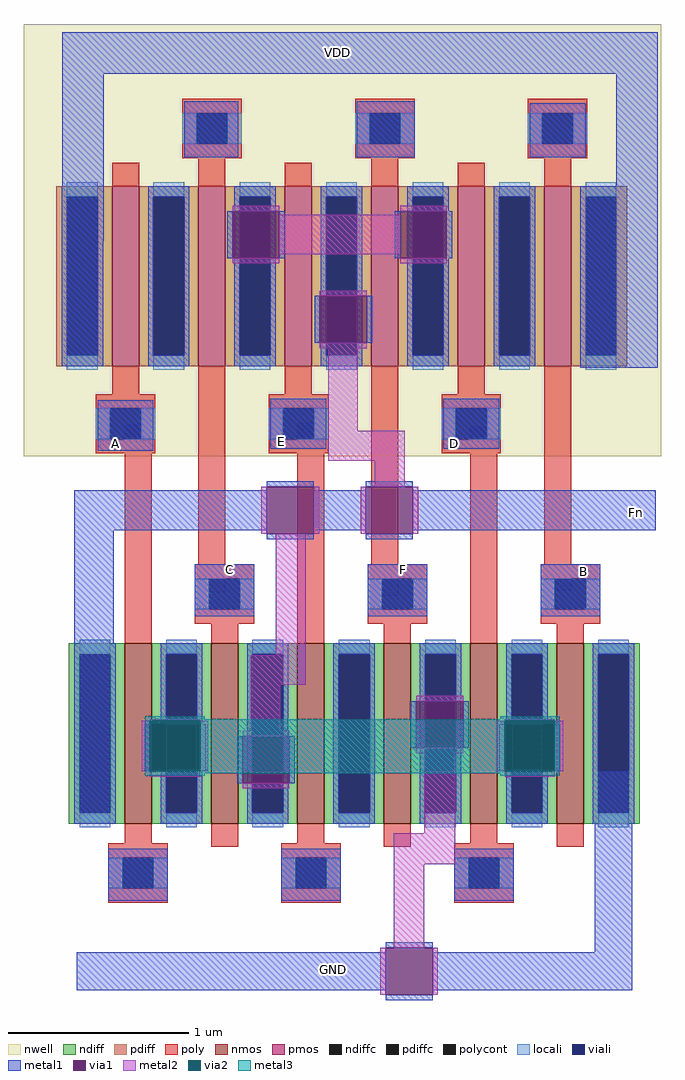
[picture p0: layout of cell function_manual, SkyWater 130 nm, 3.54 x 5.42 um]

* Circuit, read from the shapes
.subckt function_manual Fn VDD GND B D F E C A
XM1 n1 A Fn VSUBS sky130_fd_pr__nfet_01v8 w=1 l=0.15
XM2 Fn C n1 VSUBS sky130_fd_pr__nfet_01v8 w=1 l=0.15
XM3 n2 E Fn VSUBS sky130_fd_pr__nfet_01v8 w=1 l=0.15
XM4 GND F n2 VSUBS sky130_fd_pr__nfet_01v8 w=1 l=0.15
XM5 n1 D GND VSUBS sky130_fd_pr__nfet_01v8 w=1 l=0.15
XM6 GND B n1 VSUBS sky130_fd_pr__nfet_01v8 w=1 l=0.15
XM7 n3 A VDD n4 sky130_fd_pr__pfet_01v8 w=1 l=0.15
XM8 n5 C n3 n4 sky130_fd_pr__pfet_01v8 w=1 l=0.15
XM9 Fn E n5 n4 sky130_fd_pr__pfet_01v8 w=1 l=0.15
XM10 n5 F Fn n4 sky130_fd_pr__pfet_01v8 w=1 l=0.15
XM11 n6 D n5 n4 sky130_fd_pr__pfet_01v8 w=1 l=0.15
XM12 VDD B n6 n4 sky130_fd_pr__pfet_01v8 w=1 l=0.15
.ends

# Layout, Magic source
magic
tech sky130A
magscale 1 2
<< nwell >>
rect 0 10 708 490
<< poly >>
rect 112 -198 142 45
rect 194 -141 224 110
rect 304 -198 334 47
rect 386 -145 416 106
rect 496 -186 526 43
rect 578 -139 608 110
<< metal1 >>
rect 43 435 704 481
rect 43 249 89 435
rect 178 342 238 404
rect 370 342 434 404
rect 562 342 624 402
rect 658 308 704 435
rect 48 122 82 249
rect 226 230 232 282
rect 284 230 290 282
rect 412 230 418 282
rect 470 230 476 282
rect 622 276 704 308
rect 323 136 329 188
rect 381 136 387 188
rect 618 108 704 276
rect 82 16 144 72
rect 274 18 336 74
rect 466 18 528 74
rect 270 -24 322 -18
rect 56 -72 270 -28
rect 56 -392 100 -72
rect 380 -24 432 -18
rect 322 -72 380 -28
rect 270 -82 322 -76
rect 432 -72 702 -28
rect 380 -82 432 -76
rect 190 -168 256 -110
rect 382 -168 448 -110
rect 574 -168 640 -110
rect 134 -340 140 -288
rect 196 -340 202 -288
rect 237 -353 243 -301
rect 295 -353 301 -301
rect 430 -314 436 -262
rect 488 -314 494 -262
rect 528 -340 534 -288
rect 590 -340 596 -288
rect 94 -484 160 -426
rect 286 -484 352 -426
rect 478 -484 544 -426
rect 402 -536 454 -530
rect 59 -583 402 -541
rect 634 -541 676 -340
rect 454 -583 676 -541
rect 402 -594 454 -588
<< via1 >>
rect 232 230 284 282
rect 418 230 470 282
rect 329 136 381 188
rect 270 -76 322 -24
rect 380 -76 432 -24
rect 140 -340 196 -288
rect 243 -353 295 -301
rect 436 -314 488 -262
rect 534 -340 590 -288
rect 402 -588 454 -536
<< metal2 >>
rect 232 282 284 288
rect 418 282 470 288
rect 284 234 418 278
rect 232 224 284 230
rect 418 224 470 230
rect 329 188 381 194
rect 329 130 381 136
rect 338 38 371 130
rect 338 5 423 38
rect 390 -24 423 5
rect 264 -76 270 -24
rect 322 -76 328 -24
rect 374 -76 380 -24
rect 432 -76 438 -24
rect 280 -211 313 -76
rect 252 -244 313 -211
rect 140 -284 196 -282
rect 131 -340 140 -284
rect 196 -340 205 -284
rect 252 -295 285 -244
rect 436 -262 488 -256
rect 243 -301 295 -295
rect 140 -346 196 -340
rect 534 -284 590 -282
rect 436 -320 488 -314
rect 243 -359 295 -353
rect 445 -409 479 -320
rect 525 -340 534 -284
rect 590 -340 599 -284
rect 534 -346 590 -340
rect 411 -443 479 -409
rect 411 -536 445 -443
rect 396 -588 402 -536
rect 454 -588 460 -536
<< via2 >>
rect 140 -288 196 -284
rect 140 -340 196 -288
rect 534 -288 590 -284
rect 534 -340 590 -288
<< metal3 >>
rect 135 -282 201 -279
rect 529 -282 595 -279
rect 135 -284 595 -282
rect 135 -340 140 -284
rect 196 -340 534 -284
rect 590 -340 595 -284
rect 135 -342 595 -340
rect 135 -345 201 -342
rect 529 -345 595 -342
use sky130_fd_pr__nfet_01v8_USBP4X  sky130_fd_pr__nfet_01v8_USBP4X_0
transform 1 0 367 0 1 -298
box -317 -188 317 188
use sky130_fd_pr__pfet_01v8_2XYSGK  sky130_fd_pr__pfet_01v8_2XYSGK_0
transform 1 0 353 0 1 210
box -353 -200 353 200
<< labels >>
flabel metal1 s 680 -52 680 -52 0 FreeSans 320 0 0 0 Fn
port 1 nsew
flabel metal1 s 348 458 348 458 0 FreeSans 320 0 0 0 VDD
port 2 nsew
flabel metal1 s 344 -560 344 -560 0 FreeSans 320 0 0 0 GND
port 4 nsew
flabel metal1 s 622 -118 622 -118 0 FreeSans 320 0 0 0 B
port 6 nsew
flabel metal1 s 478 24 478 24 0 FreeSans 320 0 0 0 D
port 8 nsew
flabel metal1 s 422 -116 422 -116 0 FreeSans 320 0 0 0 F
port 10 nsew
flabel metal1 s 286 26 286 26 0 FreeSans 320 0 0 0 E
port 12 nsew
flabel metal1 s 228 -116 228 -116 0 FreeSans 320 0 0 0 C
port 14 nsew
flabel metal1 s 102 24 102 24 0 FreeSans 320 0 0 0 A
port 16 nsew
<< end >>

# cell sky130_fd_pr__nfet_01v8_USBP4X: kit device sky130_fd_pr__nfet_01v8, w 1 l 0.150 m 1 nf 6 diffcov 100 polycov 100 guard 0 glc 1 grc 1 gtc 1 gbc 1 tbcov 100 rlcov 100 topc 0 botc 0 poverlap 0 doverlap 1 lmin 0.15 wmin 0.42 compatible {sky130_fd_pr__nfet_01v8 sky130_fd_pr__nfet_01v8_lvt sky130_fd_bs_flash__special_sonosfet_star sky130_fd_pr__nfet_g5v0d10v5 sky130_fd_pr__nfet_05v0_nvt sky130_fd_pr__nfet_03v3_nvt} full_metal 1 viasrc 100 viadrn 100 viagate 100 viagb 0 viagr 0 viagl 0 viagt 0

# cell sky130_fd_pr__pfet_01v8_2XYSGK: kit device sky130_fd_pr__pfet_01v8, w 1 l 0.15 m 1 nf 6 diffcov 100 polycov 100 guard 0 glc 1 grc 1 gtc 1 gbc 1 tbcov 100 rlcov 100 topc 0 botc 0 poverlap 0 doverlap 1 lmin 0.15 wmin 0.42 compatible {sky130_fd_pr__pfet_01v8 sky130_fd_pr__pfet_01v8_lvt sky130_fd_pr__pfet_01v8_hvt sky130_fd_pr__pfet_g5v0d10v5} full_metal 1 viasrc 100 viadrn 100 viagate 100 viagb 0 viagr 0 viagl 0 viagt 0
